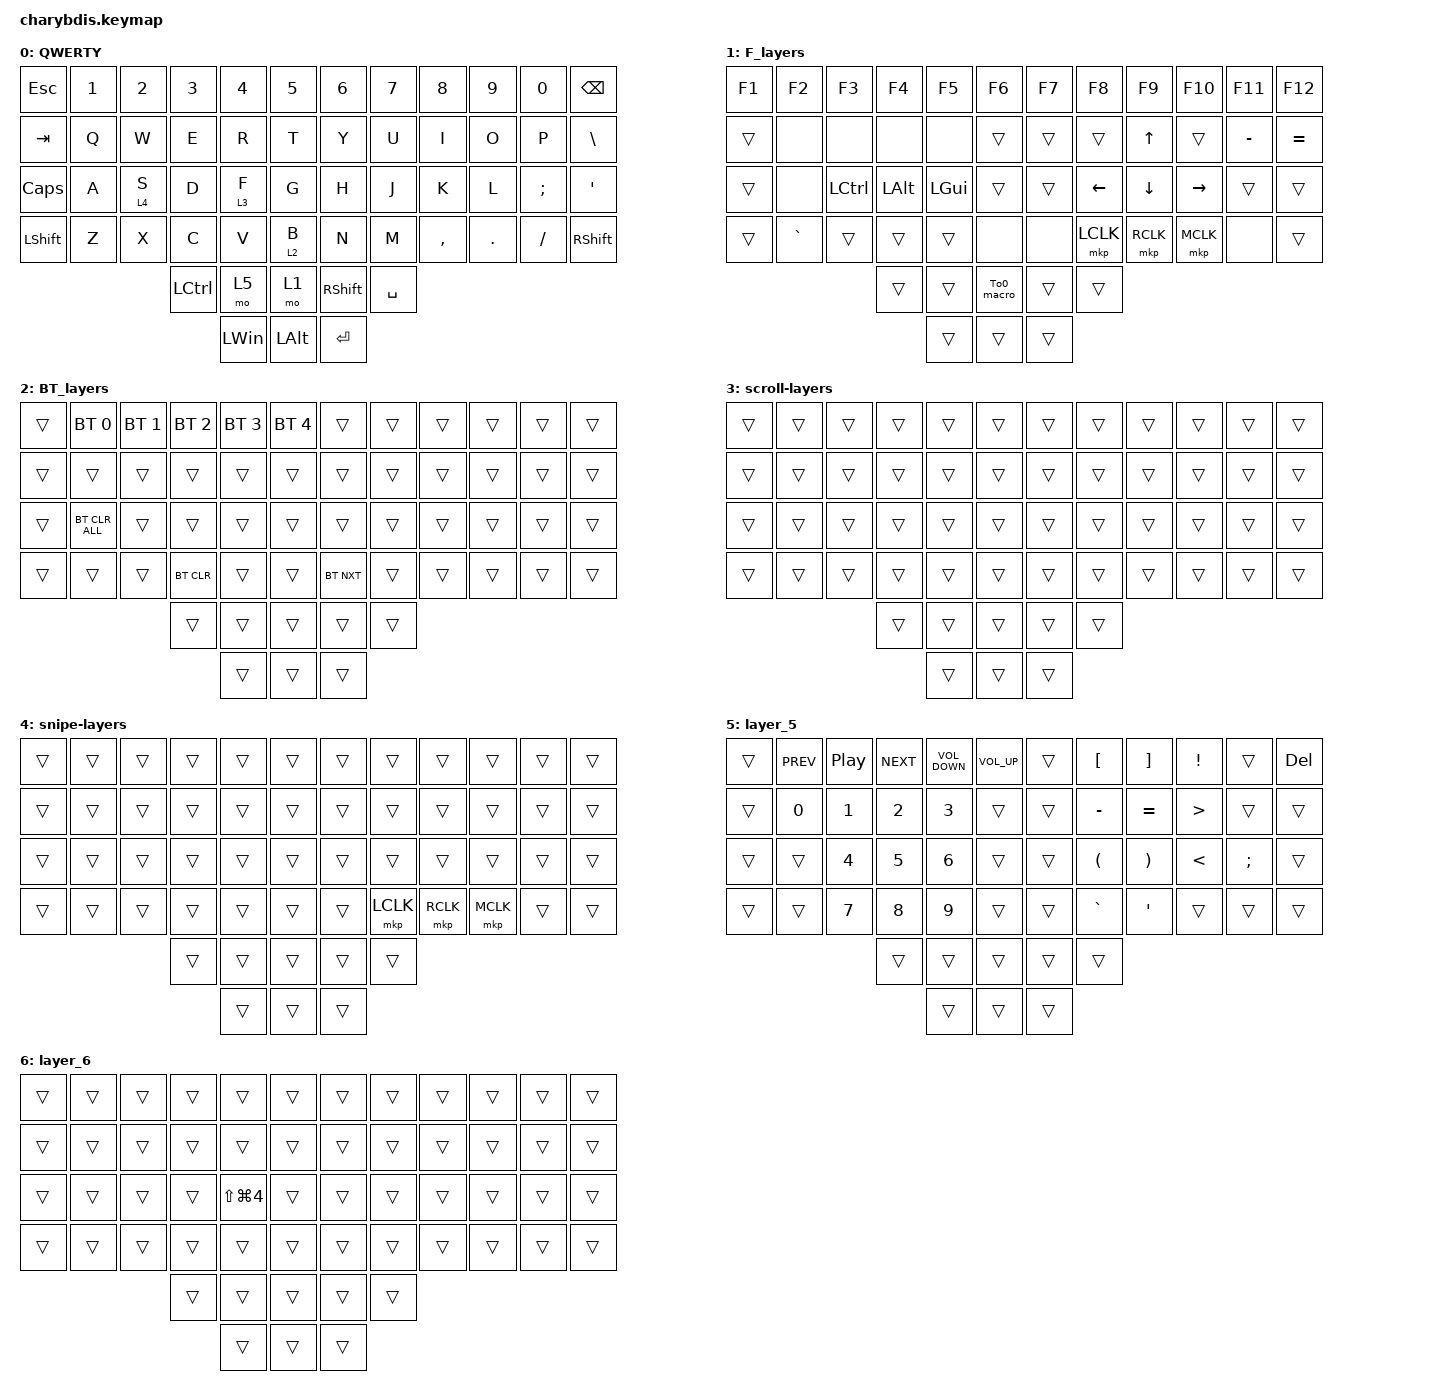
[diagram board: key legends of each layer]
#include <behaviors.dtsi>
#include <dt-bindings/zmk/bt.h>
#include <dt-bindings/zmk/keys.h>
#include <dt-bindings/zmk/pointing.h>
#include <dt-bindings/zmk/rgb.h>

&lt {
    tapping-term-ms = <200>;
    flavor = "balanced";
    quick-tap-ms = <150>;
};

/ {
    macros {
        To1_macro: To1_macro {
            compatible = "zmk,behavior-macro";
            label = "To1_macro";
            #binding-cells = <0>;
            bindings = <&rgb_ug RGB_EFF &rgb_ug RGB_COLOR_HSB(128,100,50) &to 1>;
        };

        To0_macro: To0_macro {
            compatible = "zmk,behavior-macro";
            label = "To0_macro";
            #binding-cells = <0>;
            bindings = <&rgb_ug RGB_EFR &to 0>;
        };

        To2_macro: To2_macro {
            compatible = "zmk,behavior-macro";
            label = "To2_macro";
            #binding-cells = <0>;
            bindings =
                <&to 2>,
                <&macro_wait_time 30>,
                <&rgb_ug RGB_COLOR_HSB(250,100,50)>;
        };
    };

    keymap {
        compatible = "zmk,keymap";

        QWERTY {
            bindings = <
&kp ESC         &kp N1  &kp N2   &kp N3            &kp N4        &kp N5          &kp N6      &kp N7     &kp N8     &kp N9   &kp N0    &kp BACKSPACE
&kp TAB         &kp Q   &kp W    &kp E             &kp R         &kp T           &kp Y       &kp U      &kp I      &kp O    &kp P     &kp BSLH
&kp CAPSLOCK    &kp A   &lt 4 S  &kp D             &lt 3 F       &kp G           &kp H       &kp J      &kp K      &kp L    &kp SEMI  &kp SQT
&kp LEFT_SHIFT  &kp Z   &kp X    &kp C             &kp V         &lt 2 B         &kp N       &kp M      &kp COMMA  &kp DOT  &kp FSLH  &kp RIGHT_SHIFT
                                 &kp LEFT_CONTROL  &mo 5         &mo 1           &kp RSHIFT  &kp SPACE
                                                   &kp LEFT_WIN  &kp LEFT_ALT    &kp ENTER
            >;
        };

        F_layers {
            bindings = <
&kp F1  &kp F2     &kp F3            &kp F4        &kp F5    &kp F6        &kp F7  &kp F8     &kp F9          &kp F10    &kp F11    &kp F12
&trans  &none      &none             &none         &none     &trans        &trans  &trans     &kp UP_ARROW    &trans     &kp MINUS  &kp EQUAL
&trans  &none      &kp LEFT_CONTROL  &kp LEFT_ALT  &kp LGUI  &trans        &trans  &kp LEFT   &kp DOWN_ARROW  &kp RIGHT  &trans     &trans
&trans  &kp GRAVE  &trans            &trans        &trans    &none         &none   &mkp LCLK  &mkp RCLK       &mkp MCLK  &none      &trans
                                     &trans        &trans    &To0_macro    &trans  &trans
                                                   &trans    &trans        &trans
            >;
        };

        BT_layers {
            bindings = <
&trans  &bt BT_SEL 0    &bt BT_SEL 1  &bt BT_SEL 2  &bt BT_SEL 3  &bt BT_SEL 4    &trans      &trans  &trans  &trans  &trans  &trans
&trans  &trans          &trans        &trans        &trans        &trans          &trans      &trans  &trans  &trans  &trans  &trans
&trans  &bt BT_CLR_ALL  &trans        &trans        &trans        &trans          &trans      &trans  &trans  &trans  &trans  &trans
&trans  &trans          &trans        &bt BT_CLR    &trans        &trans          &bt BT_NXT  &trans  &trans  &trans  &trans  &trans
                                      &trans        &trans        &trans          &trans      &trans
                                                    &trans        &trans          &trans
            >;
        };

        scroll-layers {
            bindings = <
&trans  &trans  &trans  &trans  &trans  &trans    &trans  &trans  &trans  &trans  &trans  &trans
&trans  &trans  &trans  &trans  &trans  &trans    &trans  &trans  &trans  &trans  &trans  &trans
&trans  &trans  &trans  &trans  &trans  &trans    &trans  &trans  &trans  &trans  &trans  &trans
&trans  &trans  &trans  &trans  &trans  &trans    &trans  &trans  &trans  &trans  &trans  &trans
                        &trans  &trans  &trans    &trans  &trans
                                &trans  &trans    &trans
            >;
        };

        snipe-layers {
            bindings = <
&trans  &trans  &trans  &trans  &trans  &trans    &trans  &trans     &trans     &trans     &trans  &trans
&trans  &trans  &trans  &trans  &trans  &trans    &trans  &trans     &trans     &trans     &trans  &trans
&trans  &trans  &trans  &trans  &trans  &trans    &trans  &trans     &trans     &trans     &trans  &trans
&trans  &trans  &trans  &trans  &trans  &trans    &trans  &mkp LCLK  &mkp RCLK  &mkp MCLK  &trans  &trans
                        &trans  &trans  &trans    &trans  &trans
                                &trans  &trans    &trans
            >;
        };

        layer_5 {
            bindings = <
&trans  &kp C_PREV    &kp C_PLAY_PAUSE  &kp C_NEXT    &kp C_VOLUME_DOWN  &kp C_VOLUME_UP    &trans  &kp LEFT_BRACKET      &kp RIGHT_BRACKET      &kp EXCLAMATION   &trans         &kp DELETE
&trans  &kp NUMBER_0  &kp NUMBER_1      &kp NUMBER_2  &kp NUMBER_3       &trans             &trans  &kp MINUS             &kp EQUAL              &kp GREATER_THAN  &trans         &trans
&trans  &trans        &kp NUMBER_4      &kp N5        &kp NUMBER_6       &trans             &trans  &kp LEFT_PARENTHESIS  &kp RIGHT_PARENTHESIS  &kp LESS_THAN     &kp SEMICOLON  &trans
&trans  &trans        &kp N7            &kp N8        &kp N9             &trans             &trans  &kp GRAVE             &kp SINGLE_QUOTE       &trans            &trans         &trans
                                        &trans        &trans             &trans             &trans  &trans
                                                      &trans             &trans             &trans
            >;
        };

        layer_6 {
            bindings = <
&trans  &trans  &trans  &trans  &trans                &trans    &trans  &trans  &trans  &trans  &trans  &trans
&trans  &trans  &trans  &trans  &trans                &trans    &trans  &trans  &trans  &trans  &trans  &trans
&trans  &trans  &trans  &trans  &kp LS(LG(NUMBER_4))  &trans    &trans  &trans  &trans  &trans  &trans  &trans
&trans  &trans  &trans  &trans  &trans                &trans    &trans  &trans  &trans  &trans  &trans  &trans
                        &trans  &trans                &trans    &trans  &trans
                                &trans                &trans    &trans
            >;
        };
    };

    conditional_layers {
        compatible = "zmk,conditional-layers";

        conditional {
            if-layers = <5 1>;
            then-layer = <6>;
        };
    };
};
